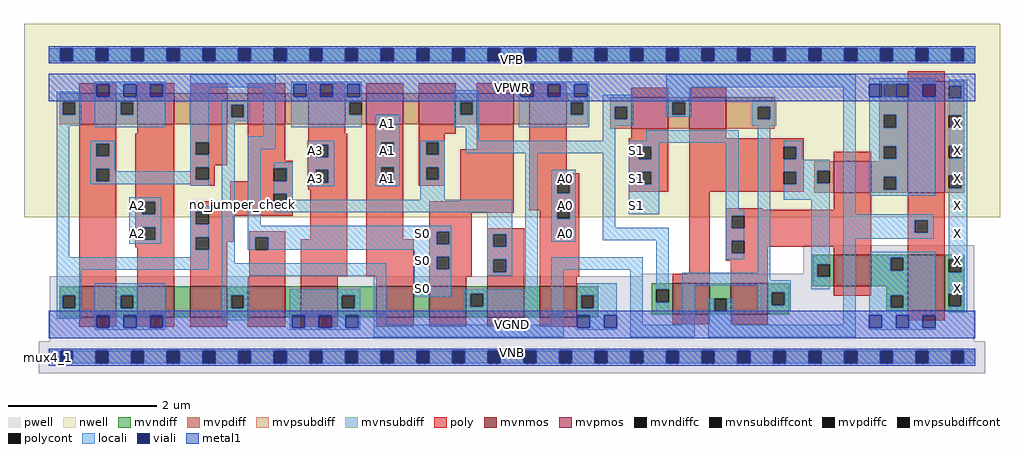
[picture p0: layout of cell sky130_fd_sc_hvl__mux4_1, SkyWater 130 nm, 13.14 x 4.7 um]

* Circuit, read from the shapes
.subckt sky130_fd_sc_hvl__mux4_1 A0 A1 A2 A3 S0 S1 VGND VNB VPB VPWR X
XM1 VGND S0 n1 VNB sky130_fd_pr__nfet_g5v0d10v5 w=0.42 l=0.5
XM2 n2 A2 VGND VNB sky130_fd_pr__nfet_g5v0d10v5 w=0.42 l=0.5
XM3 n3 n1 n2 VNB sky130_fd_pr__nfet_g5v0d10v5 w=0.42 l=0.5
XM4 n4 S0 n3 VNB sky130_fd_pr__nfet_g5v0d10v5 w=0.42 l=0.5
XM5 VGND A3 n4 VNB sky130_fd_pr__nfet_g5v0d10v5 w=0.42 l=0.5
XM6 n5 A1 VGND VNB sky130_fd_pr__nfet_g5v0d10v5 w=0.42 l=0.5
XM7 n6 S0 n5 VNB sky130_fd_pr__nfet_g5v0d10v5 w=0.42 l=0.5
XM8 n7 n1 n6 VNB sky130_fd_pr__nfet_g5v0d10v5 w=0.42 l=0.5
XM9 VGND A0 n7 VNB sky130_fd_pr__nfet_g5v0d10v5 w=0.42 l=0.5
XM10 n8 n9 n6 VNB sky130_fd_pr__nfet_g5v0d10v5 w=0.42 l=0.5
XM11 n3 S1 n8 VNB sky130_fd_pr__nfet_g5v0d10v5 w=0.42 l=0.5
XM12 VGND S1 n9 VNB sky130_fd_pr__nfet_g5v0d10v5 w=0.42 l=0.5
XM13 X n8 VGND VNB sky130_fd_pr__nfet_g5v0d10v5 w=0.75 l=0.5
XM14 VPWR S0 n1 VPB sky130_fd_pr__pfet_g5v0d10v5 w=0.42 l=0.5
XM15 n10 A2 VPWR VPB sky130_fd_pr__pfet_g5v0d10v5 w=0.42 l=0.5
XM16 n3 S0 n10 VPB sky130_fd_pr__pfet_g5v0d10v5 w=0.42 l=0.5
XM17 n11 n1 n3 VPB sky130_fd_pr__pfet_g5v0d10v5 w=0.42 l=0.5
XM18 VPWR A3 n11 VPB sky130_fd_pr__pfet_g5v0d10v5 w=0.42 l=0.5
XM19 n12 A1 VPWR VPB sky130_fd_pr__pfet_g5v0d10v5 w=0.42 l=0.5
XM20 n6 n1 n12 VPB sky130_fd_pr__pfet_g5v0d10v5 w=0.42 l=0.5
XM21 n13 S0 n6 VPB sky130_fd_pr__pfet_g5v0d10v5 w=0.42 l=0.5
XM22 VPWR A0 n13 VPB sky130_fd_pr__pfet_g5v0d10v5 w=0.42 l=0.5
XM23 n8 S1 n6 VPB sky130_fd_pr__pfet_g5v0d10v5 w=0.42 l=0.5
XM24 n3 n9 n8 VPB sky130_fd_pr__pfet_g5v0d10v5 w=0.42 l=0.5
XM25 VPWR S1 n9 VPB sky130_fd_pr__pfet_g5v0d10v5 w=0.42 l=0.5
XM26 X n8 VPWR VPB sky130_fd_pr__pfet_g5v0d10v5 w=1.5 l=0.5
.ends

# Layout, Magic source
magic
tech sky130B
magscale 1 2
<< nwell >>
rect -66 377 2562 897
<< pwell >>
rect 2032 225 2492 301
rect 1598 217 2492 225
rect 4 43 2492 217
rect -26 -43 2522 43
<< mvnmos >>
rect 83 107 183 191
rect 239 107 339 191
rect 381 107 481 191
rect 537 107 637 191
rect 679 107 779 191
rect 883 107 983 191
rect 1025 107 1125 191
rect 1181 107 1281 191
rect 1323 107 1423 191
rect 1681 115 1781 199
rect 1837 115 1937 199
rect 2115 191 2215 275
rect 2313 125 2413 275
<< mvpmos >>
rect 83 627 183 711
rect 239 627 339 711
rect 381 627 481 711
rect 537 627 637 711
rect 699 627 799 711
rect 855 627 955 711
rect 997 627 1097 711
rect 1153 627 1253 711
rect 1295 627 1395 711
rect 1569 615 1669 699
rect 1725 615 1825 699
rect 2115 443 2215 527
rect 2313 443 2413 743
<< mvndiff >>
rect 2058 250 2115 275
rect 2058 216 2070 250
rect 2104 216 2115 250
rect 30 166 83 191
rect 30 132 38 166
rect 72 132 83 166
rect 30 107 83 132
rect 183 166 239 191
rect 183 132 194 166
rect 228 132 239 166
rect 183 107 239 132
rect 339 107 381 191
rect 481 166 537 191
rect 481 132 492 166
rect 526 132 537 166
rect 481 107 537 132
rect 637 107 679 191
rect 779 166 883 191
rect 779 132 790 166
rect 824 132 883 166
rect 779 107 883 132
rect 983 107 1025 191
rect 1125 170 1181 191
rect 1125 136 1136 170
rect 1170 136 1181 170
rect 1125 107 1181 136
rect 1281 107 1323 191
rect 1423 166 1480 191
rect 1423 132 1434 166
rect 1468 132 1480 166
rect 1423 107 1480 132
rect 1624 182 1681 199
rect 1624 148 1636 182
rect 1670 148 1681 182
rect 1624 115 1681 148
rect 1781 157 1837 199
rect 1781 123 1792 157
rect 1826 123 1837 157
rect 1781 115 1837 123
rect 1937 174 1994 199
rect 2058 191 2115 216
rect 2215 267 2313 275
rect 2215 233 2268 267
rect 2302 233 2313 267
rect 2215 191 2313 233
rect 1937 140 1948 174
rect 1982 140 1994 174
rect 2256 167 2313 191
rect 1937 115 1994 140
rect 2256 133 2268 167
rect 2302 133 2313 167
rect 2256 125 2313 133
rect 2413 263 2466 275
rect 2413 229 2424 263
rect 2458 229 2466 263
rect 2413 171 2466 229
rect 2413 137 2424 171
rect 2458 137 2466 171
rect 2413 125 2466 137
<< mvpdiff >>
rect 2237 735 2313 743
rect 30 686 83 711
rect 30 652 38 686
rect 72 652 83 686
rect 30 627 83 652
rect 183 686 239 711
rect 183 652 194 686
rect 228 652 239 686
rect 183 627 239 652
rect 339 627 381 711
rect 481 680 537 711
rect 481 646 492 680
rect 526 646 537 680
rect 481 627 537 646
rect 637 627 699 711
rect 799 686 855 711
rect 799 652 810 686
rect 844 652 855 686
rect 799 627 855 652
rect 955 627 997 711
rect 1097 686 1153 711
rect 1097 652 1108 686
rect 1142 652 1153 686
rect 1097 627 1153 652
rect 1253 627 1295 711
rect 1395 686 1452 711
rect 2237 701 2249 735
rect 2283 701 2313 735
rect 1395 652 1406 686
rect 1440 652 1452 686
rect 1395 627 1452 652
rect 1512 674 1569 699
rect 1512 640 1524 674
rect 1558 640 1569 674
rect 1512 615 1569 640
rect 1669 686 1725 699
rect 1669 652 1680 686
rect 1714 652 1725 686
rect 1669 615 1725 652
rect 1825 674 1956 699
rect 1825 640 1910 674
rect 1944 640 1956 674
rect 1825 615 1956 640
rect 2237 652 2313 701
rect 2237 618 2249 652
rect 2283 618 2313 652
rect 2237 568 2313 618
rect 2237 534 2249 568
rect 2283 534 2313 568
rect 2237 527 2313 534
rect 2062 502 2115 527
rect 2062 468 2070 502
rect 2104 468 2115 502
rect 2062 443 2115 468
rect 2215 485 2313 527
rect 2215 451 2249 485
rect 2283 451 2313 485
rect 2215 443 2313 451
rect 2413 731 2466 743
rect 2413 697 2424 731
rect 2458 697 2466 731
rect 2413 651 2466 697
rect 2413 617 2424 651
rect 2458 617 2466 651
rect 2413 569 2466 617
rect 2413 535 2424 569
rect 2458 535 2466 569
rect 2413 489 2466 535
rect 2413 455 2424 489
rect 2458 455 2466 489
rect 2413 443 2466 455
<< mvndiffc >>
rect 2070 216 2104 250
rect 38 132 72 166
rect 194 132 228 166
rect 492 132 526 166
rect 790 132 824 166
rect 1136 136 1170 170
rect 1434 132 1468 166
rect 1636 148 1670 182
rect 1792 123 1826 157
rect 2268 233 2302 267
rect 1948 140 1982 174
rect 2268 133 2302 167
rect 2424 229 2458 263
rect 2424 137 2458 171
<< mvpdiffc >>
rect 38 652 72 686
rect 194 652 228 686
rect 492 646 526 680
rect 810 652 844 686
rect 1108 652 1142 686
rect 2249 701 2283 735
rect 1406 652 1440 686
rect 1524 640 1558 674
rect 1680 652 1714 686
rect 1910 640 1944 674
rect 2249 618 2283 652
rect 2249 534 2283 568
rect 2070 468 2104 502
rect 2249 451 2283 485
rect 2424 697 2458 731
rect 2424 617 2458 651
rect 2424 535 2458 569
rect 2424 455 2458 489
<< mvpsubdiff >>
rect 0 -17 31 17
rect 65 -17 127 17
rect 161 -17 223 17
rect 257 -17 319 17
rect 353 -17 415 17
rect 449 -17 511 17
rect 545 -17 607 17
rect 641 -17 703 17
rect 737 -17 799 17
rect 833 -17 895 17
rect 929 -17 991 17
rect 1025 -17 1087 17
rect 1121 -17 1183 17
rect 1217 -17 1279 17
rect 1313 -17 1375 17
rect 1409 -17 1471 17
rect 1505 -17 1567 17
rect 1601 -17 1663 17
rect 1697 -17 1759 17
rect 1793 -17 1855 17
rect 1889 -17 1951 17
rect 1985 -17 2047 17
rect 2081 -17 2143 17
rect 2177 -17 2239 17
rect 2273 -17 2335 17
rect 2369 -17 2431 17
rect 2465 -17 2496 17
<< mvnsubdiff >>
rect 0 797 31 831
rect 65 797 127 831
rect 161 797 223 831
rect 257 797 319 831
rect 353 797 415 831
rect 449 797 511 831
rect 545 797 607 831
rect 641 797 703 831
rect 737 797 799 831
rect 833 797 895 831
rect 929 797 991 831
rect 1025 797 1087 831
rect 1121 797 1183 831
rect 1217 797 1279 831
rect 1313 797 1375 831
rect 1409 797 1471 831
rect 1505 797 1567 831
rect 1601 797 1663 831
rect 1697 797 1759 831
rect 1793 797 1855 831
rect 1889 797 1951 831
rect 1985 797 2047 831
rect 2081 797 2143 831
rect 2177 797 2239 831
rect 2273 797 2335 831
rect 2369 797 2431 831
rect 2465 797 2496 831
<< mvpsubdiffcont >>
rect 31 -17 65 17
rect 127 -17 161 17
rect 223 -17 257 17
rect 319 -17 353 17
rect 415 -17 449 17
rect 511 -17 545 17
rect 607 -17 641 17
rect 703 -17 737 17
rect 799 -17 833 17
rect 895 -17 929 17
rect 991 -17 1025 17
rect 1087 -17 1121 17
rect 1183 -17 1217 17
rect 1279 -17 1313 17
rect 1375 -17 1409 17
rect 1471 -17 1505 17
rect 1567 -17 1601 17
rect 1663 -17 1697 17
rect 1759 -17 1793 17
rect 1855 -17 1889 17
rect 1951 -17 1985 17
rect 2047 -17 2081 17
rect 2143 -17 2177 17
rect 2239 -17 2273 17
rect 2335 -17 2369 17
rect 2431 -17 2465 17
<< mvnsubdiffcont >>
rect 31 797 65 831
rect 127 797 161 831
rect 223 797 257 831
rect 319 797 353 831
rect 415 797 449 831
rect 511 797 545 831
rect 607 797 641 831
rect 703 797 737 831
rect 799 797 833 831
rect 895 797 929 831
rect 991 797 1025 831
rect 1087 797 1121 831
rect 1183 797 1217 831
rect 1279 797 1313 831
rect 1375 797 1409 831
rect 1471 797 1505 831
rect 1567 797 1601 831
rect 1663 797 1697 831
rect 1759 797 1793 831
rect 1855 797 1889 831
rect 1951 797 1985 831
rect 2047 797 2081 831
rect 2143 797 2177 831
rect 2239 797 2273 831
rect 2335 797 2369 831
rect 2431 797 2465 831
<< poly >>
rect 2313 743 2413 769
rect 83 711 183 737
rect 239 711 339 737
rect 381 711 481 737
rect 537 711 637 737
rect 699 711 799 737
rect 855 711 955 737
rect 997 711 1097 737
rect 1153 711 1253 737
rect 1295 711 1395 737
rect 1569 699 1669 725
rect 1725 699 1825 725
rect 83 575 183 627
rect 239 601 339 627
rect 83 541 129 575
rect 163 541 183 575
rect 83 507 183 541
rect 83 473 129 507
rect 163 473 183 507
rect 83 191 183 473
rect 233 418 339 601
rect 381 579 481 627
rect 381 545 397 579
rect 431 545 481 579
rect 381 516 481 545
rect 537 528 637 627
rect 699 601 799 627
rect 699 572 805 601
rect 699 538 719 572
rect 753 538 805 572
rect 381 511 447 516
rect 381 477 397 511
rect 431 477 447 511
rect 381 461 447 477
rect 537 508 657 528
rect 537 474 607 508
rect 641 474 657 508
rect 489 440 657 474
rect 699 504 805 538
rect 699 470 719 504
rect 753 470 805 504
rect 699 450 805 470
rect 489 419 607 440
rect 233 384 253 418
rect 287 384 339 418
rect 233 350 339 384
rect 233 316 253 350
rect 287 316 339 350
rect 233 296 339 316
rect 239 191 339 296
rect 381 406 607 419
rect 641 406 657 440
rect 381 391 657 406
rect 381 357 397 391
rect 431 381 657 391
rect 431 357 499 381
rect 381 323 499 357
rect 381 289 397 323
rect 431 311 499 323
rect 541 323 637 339
rect 431 289 481 311
rect 381 191 481 289
rect 541 289 557 323
rect 591 289 637 323
rect 705 317 805 450
rect 541 217 637 289
rect 537 191 637 217
rect 679 217 805 317
rect 855 579 955 627
rect 855 545 896 579
rect 930 545 955 579
rect 855 511 955 545
rect 855 477 896 511
rect 930 477 955 511
rect 855 317 955 477
rect 997 601 1097 627
rect 997 579 1067 601
rect 997 545 1017 579
rect 1051 545 1067 579
rect 1153 559 1253 627
rect 997 511 1067 545
rect 997 477 1017 511
rect 1051 477 1067 511
rect 997 461 1067 477
rect 1109 419 1253 559
rect 1025 389 1253 419
rect 1295 495 1395 627
rect 1569 589 1669 615
rect 1563 567 1669 589
rect 1563 533 1589 567
rect 1623 533 1669 567
rect 1563 499 1669 533
rect 1295 475 1429 495
rect 1295 441 1370 475
rect 1404 441 1429 475
rect 1563 465 1589 499
rect 1623 465 1669 499
rect 1563 445 1669 465
rect 1725 589 1825 615
rect 1725 567 2034 589
rect 1725 533 1980 567
rect 2014 533 2034 567
rect 1725 499 2034 533
rect 2115 527 2215 553
rect 1725 465 1980 499
rect 2014 465 2034 499
rect 1725 445 2034 465
rect 1295 407 1429 441
rect 1295 395 1370 407
rect 1025 338 1139 389
rect 1323 373 1370 395
rect 1404 373 1429 407
rect 855 217 983 317
rect 679 191 779 217
rect 883 191 983 217
rect 1025 304 1045 338
rect 1079 304 1139 338
rect 1025 270 1139 304
rect 1025 236 1045 270
rect 1079 236 1139 270
rect 1025 216 1139 236
rect 1181 331 1281 347
rect 1181 297 1198 331
rect 1232 297 1281 331
rect 1181 263 1281 297
rect 1181 229 1198 263
rect 1232 229 1281 263
rect 1025 191 1125 216
rect 1181 191 1281 229
rect 1323 217 1429 373
rect 1725 225 1781 445
rect 1823 397 1923 401
rect 2115 397 2215 443
rect 1823 381 2215 397
rect 1823 347 1840 381
rect 1874 347 2215 381
rect 1823 313 2215 347
rect 1823 279 1840 313
rect 1874 297 2215 313
rect 1874 279 1937 297
rect 1823 259 1937 279
rect 2115 275 2215 297
rect 2313 369 2413 443
rect 2313 335 2333 369
rect 2367 335 2413 369
rect 2313 275 2413 335
rect 1323 191 1423 217
rect 1681 199 1781 225
rect 1837 199 1937 259
rect 2115 165 2215 191
rect 83 81 183 107
rect 239 81 339 107
rect 381 81 481 107
rect 537 81 637 107
rect 679 81 779 107
rect 883 81 983 107
rect 1025 81 1125 107
rect 1181 81 1281 107
rect 1323 81 1423 107
rect 1681 89 1781 115
rect 1837 89 1937 115
rect 2313 99 2413 125
<< polycont >>
rect 129 541 163 575
rect 129 473 163 507
rect 397 545 431 579
rect 719 538 753 572
rect 397 477 431 511
rect 607 474 641 508
rect 719 470 753 504
rect 253 384 287 418
rect 253 316 287 350
rect 607 406 641 440
rect 397 357 431 391
rect 397 289 431 323
rect 557 289 591 323
rect 896 545 930 579
rect 896 477 930 511
rect 1017 545 1051 579
rect 1017 477 1051 511
rect 1589 533 1623 567
rect 1370 441 1404 475
rect 1589 465 1623 499
rect 1980 533 2014 567
rect 1980 465 2014 499
rect 1370 373 1404 407
rect 1045 304 1079 338
rect 1045 236 1079 270
rect 1198 297 1232 331
rect 1198 229 1232 263
rect 1840 347 1874 381
rect 1840 279 1874 313
rect 2333 335 2367 369
<< locali >>
rect 0 797 31 831
rect 65 797 127 831
rect 161 797 223 831
rect 257 797 319 831
rect 353 797 415 831
rect 449 797 511 831
rect 545 797 607 831
rect 641 797 703 831
rect 737 797 799 831
rect 833 797 895 831
rect 929 797 991 831
rect 1025 797 1087 831
rect 1121 797 1183 831
rect 1217 797 1279 831
rect 1313 797 1375 831
rect 1409 797 1471 831
rect 1505 797 1567 831
rect 1601 797 1663 831
rect 1697 797 1759 831
rect 1793 797 1855 831
rect 1889 797 1951 831
rect 1985 797 2047 831
rect 2081 797 2143 831
rect 2177 797 2239 831
rect 2273 797 2335 831
rect 2369 797 2431 831
rect 2465 797 2496 831
rect 124 735 314 741
rect 22 686 88 715
rect 22 652 38 686
rect 72 652 88 686
rect 22 623 88 652
rect 124 701 130 735
rect 164 701 202 735
rect 236 701 274 735
rect 308 701 314 735
rect 124 686 314 701
rect 124 652 194 686
rect 228 652 314 686
rect 22 269 56 623
rect 124 619 314 652
rect 381 727 612 761
rect 113 575 179 583
rect 113 541 129 575
rect 163 541 179 575
rect 113 507 179 541
rect 113 473 129 507
rect 163 500 179 507
rect 381 579 431 727
rect 381 545 397 579
rect 381 511 431 545
rect 381 500 397 511
rect 163 477 397 500
rect 163 473 431 477
rect 113 466 431 473
rect 381 461 431 466
rect 467 680 542 691
rect 467 646 492 680
rect 526 646 542 680
rect 467 635 542 646
rect 217 418 303 430
rect 217 384 253 418
rect 287 384 303 418
rect 217 350 303 384
rect 217 316 253 350
rect 287 316 303 350
rect 217 305 303 316
rect 381 391 431 407
rect 381 357 397 391
rect 381 323 431 357
rect 381 289 397 323
rect 381 269 431 289
rect 22 235 431 269
rect 467 253 501 635
rect 578 594 612 727
rect 654 735 844 741
rect 654 701 660 735
rect 694 701 732 735
rect 766 701 804 735
rect 838 701 844 735
rect 1266 735 1456 741
rect 654 686 844 701
rect 654 652 810 686
rect 1092 686 1158 719
rect 1092 652 1108 686
rect 1142 652 1158 686
rect 654 619 844 652
rect 537 560 612 594
rect 697 572 769 583
rect 537 354 571 560
rect 697 538 719 572
rect 753 538 769 572
rect 607 508 657 524
rect 641 474 657 508
rect 607 440 657 474
rect 697 504 769 538
rect 697 470 719 504
rect 753 470 769 504
rect 697 460 769 470
rect 880 579 946 652
rect 1092 619 1158 652
rect 1266 701 1272 735
rect 1306 701 1344 735
rect 1378 701 1416 735
rect 1450 701 1456 735
rect 1664 727 2174 761
rect 1266 686 1456 701
rect 1266 652 1406 686
rect 1440 652 1456 686
rect 1266 619 1456 652
rect 1492 674 1574 707
rect 1492 640 1524 674
rect 1558 640 1574 674
rect 1664 686 1730 727
rect 1664 652 1680 686
rect 1714 652 1730 686
rect 1664 647 1730 652
rect 1894 674 1960 691
rect 1492 623 1574 640
rect 1894 640 1910 674
rect 1944 640 1960 674
rect 1894 623 1960 640
rect 1124 583 1158 619
rect 1492 583 1526 623
rect 1610 583 1858 611
rect 880 545 896 579
rect 930 545 946 579
rect 880 511 946 545
rect 880 477 896 511
rect 930 477 946 511
rect 880 460 946 477
rect 1001 579 1067 583
rect 1001 545 1017 579
rect 1051 545 1067 579
rect 1124 549 1526 583
rect 1001 511 1067 545
rect 1001 477 1017 511
rect 1051 477 1067 511
rect 641 424 657 440
rect 1001 424 1067 477
rect 641 406 1248 424
rect 607 390 1248 406
rect 537 338 1084 354
rect 537 323 1045 338
rect 537 289 557 323
rect 591 304 1045 323
rect 1079 304 1084 338
rect 591 289 1084 304
rect 985 270 1084 289
rect 22 166 88 235
rect 467 219 910 253
rect 22 132 38 166
rect 72 132 88 166
rect 22 103 88 132
rect 124 166 314 199
rect 124 132 194 166
rect 228 132 314 166
rect 124 113 314 132
rect 124 79 130 113
rect 164 79 202 113
rect 236 79 274 113
rect 308 79 314 113
rect 467 166 542 219
rect 467 132 492 166
rect 526 132 542 166
rect 467 99 542 132
rect 650 166 840 183
rect 650 132 790 166
rect 824 132 840 166
rect 650 113 840 132
rect 124 73 314 79
rect 650 79 656 113
rect 690 79 728 113
rect 762 79 800 113
rect 834 79 840 113
rect 650 73 840 79
rect 876 87 910 219
rect 985 236 1045 270
rect 1079 236 1084 270
rect 985 162 1084 236
rect 1182 331 1248 390
rect 1182 297 1198 331
rect 1232 297 1248 331
rect 1182 263 1248 297
rect 1182 229 1198 263
rect 1232 229 1248 263
rect 1182 219 1248 229
rect 1284 183 1318 549
rect 1354 475 1420 504
rect 1354 441 1370 475
rect 1404 441 1420 475
rect 1354 407 1420 441
rect 1354 373 1370 407
rect 1404 373 1420 407
rect 1354 310 1420 373
rect 1492 348 1526 549
rect 1562 577 1858 583
rect 1562 567 1644 577
rect 1562 533 1589 567
rect 1623 533 1644 567
rect 1562 499 1644 533
rect 1562 465 1589 499
rect 1623 465 1644 499
rect 1562 384 1644 465
rect 1824 397 1858 577
rect 1824 381 1874 397
rect 1492 314 1670 348
rect 1120 170 1318 183
rect 1120 136 1136 170
rect 1170 136 1318 170
rect 1120 123 1318 136
rect 1354 235 1600 269
rect 1354 87 1388 235
rect 876 53 1388 87
rect 1424 166 1530 199
rect 1424 132 1434 166
rect 1468 132 1530 166
rect 1424 113 1530 132
rect 1458 79 1496 113
rect 1424 73 1530 79
rect 1566 87 1600 235
rect 1636 182 1670 314
rect 1824 347 1840 381
rect 1824 313 1874 347
rect 1824 279 1840 313
rect 1824 263 1874 279
rect 1910 227 1944 623
rect 1980 567 2030 583
rect 2014 533 2030 567
rect 1980 531 2030 533
rect 1980 502 2104 531
rect 1980 499 2070 502
rect 2014 468 2070 499
rect 2014 465 2104 468
rect 1980 423 2104 465
rect 1636 123 1670 148
rect 1706 207 1944 227
rect 2054 250 2104 423
rect 2054 216 2070 250
rect 1706 193 1998 207
rect 1706 87 1740 193
rect 1910 174 1998 193
rect 2054 183 2104 216
rect 2140 385 2174 727
rect 2210 735 2388 751
rect 2244 701 2249 735
rect 2316 701 2354 735
rect 2210 652 2388 701
rect 2210 618 2249 652
rect 2283 618 2388 652
rect 2210 568 2388 618
rect 2210 534 2249 568
rect 2283 534 2388 568
rect 2210 485 2388 534
rect 2210 451 2249 485
rect 2283 451 2388 485
rect 2210 435 2388 451
rect 2424 731 2474 747
rect 2458 697 2474 731
rect 2424 651 2474 697
rect 2458 617 2474 651
rect 2424 569 2474 617
rect 2458 535 2474 569
rect 2424 489 2474 535
rect 2458 455 2474 489
rect 2140 369 2383 385
rect 2140 335 2333 369
rect 2367 335 2383 369
rect 2140 319 2383 335
rect 1566 53 1740 87
rect 1776 123 1792 157
rect 1826 123 1842 157
rect 1910 140 1948 174
rect 1982 140 1998 174
rect 1910 123 1998 140
rect 1776 87 1842 123
rect 2140 87 2174 319
rect 1776 53 2174 87
rect 2210 267 2388 283
rect 2210 233 2268 267
rect 2302 233 2388 267
rect 2210 167 2388 233
rect 2210 133 2268 167
rect 2302 133 2388 167
rect 2210 113 2388 133
rect 2424 263 2474 455
rect 2458 229 2474 263
rect 2424 171 2474 229
rect 2458 137 2474 171
rect 2424 121 2474 137
rect 2244 79 2282 113
rect 2316 79 2354 113
rect 2210 73 2388 79
rect 0 -17 31 17
rect 65 -17 127 17
rect 161 -17 223 17
rect 257 -17 319 17
rect 353 -17 415 17
rect 449 -17 511 17
rect 545 -17 607 17
rect 641 -17 703 17
rect 737 -17 799 17
rect 833 -17 895 17
rect 929 -17 991 17
rect 1025 -17 1087 17
rect 1121 -17 1183 17
rect 1217 -17 1279 17
rect 1313 -17 1375 17
rect 1409 -17 1471 17
rect 1505 -17 1567 17
rect 1601 -17 1663 17
rect 1697 -17 1759 17
rect 1793 -17 1855 17
rect 1889 -17 1951 17
rect 1985 -17 2047 17
rect 2081 -17 2143 17
rect 2177 -17 2239 17
rect 2273 -17 2335 17
rect 2369 -17 2431 17
rect 2465 -17 2496 17
<< viali >>
rect 31 797 65 831
rect 127 797 161 831
rect 223 797 257 831
rect 319 797 353 831
rect 415 797 449 831
rect 511 797 545 831
rect 607 797 641 831
rect 703 797 737 831
rect 799 797 833 831
rect 895 797 929 831
rect 991 797 1025 831
rect 1087 797 1121 831
rect 1183 797 1217 831
rect 1279 797 1313 831
rect 1375 797 1409 831
rect 1471 797 1505 831
rect 1567 797 1601 831
rect 1663 797 1697 831
rect 1759 797 1793 831
rect 1855 797 1889 831
rect 1951 797 1985 831
rect 2047 797 2081 831
rect 2143 797 2177 831
rect 2239 797 2273 831
rect 2335 797 2369 831
rect 2431 797 2465 831
rect 130 701 164 735
rect 202 701 236 735
rect 274 701 308 735
rect 660 701 694 735
rect 732 701 766 735
rect 804 701 838 735
rect 1272 701 1306 735
rect 1344 701 1378 735
rect 1416 701 1450 735
rect 130 79 164 113
rect 202 79 236 113
rect 274 79 308 113
rect 656 79 690 113
rect 728 79 762 113
rect 800 79 834 113
rect 1424 79 1458 113
rect 1496 79 1530 113
rect 2210 701 2244 735
rect 2282 701 2283 735
rect 2283 701 2316 735
rect 2354 701 2388 735
rect 2210 79 2244 113
rect 2282 79 2316 113
rect 2354 79 2388 113
rect 31 -17 65 17
rect 127 -17 161 17
rect 223 -17 257 17
rect 319 -17 353 17
rect 415 -17 449 17
rect 511 -17 545 17
rect 607 -17 641 17
rect 703 -17 737 17
rect 799 -17 833 17
rect 895 -17 929 17
rect 991 -17 1025 17
rect 1087 -17 1121 17
rect 1183 -17 1217 17
rect 1279 -17 1313 17
rect 1375 -17 1409 17
rect 1471 -17 1505 17
rect 1567 -17 1601 17
rect 1663 -17 1697 17
rect 1759 -17 1793 17
rect 1855 -17 1889 17
rect 1951 -17 1985 17
rect 2047 -17 2081 17
rect 2143 -17 2177 17
rect 2239 -17 2273 17
rect 2335 -17 2369 17
rect 2431 -17 2465 17
<< metal1 >>
rect 0 831 2496 837
rect 0 797 31 831
rect 65 797 127 831
rect 161 797 223 831
rect 257 797 319 831
rect 353 797 415 831
rect 449 797 511 831
rect 545 797 607 831
rect 641 797 703 831
rect 737 797 799 831
rect 833 797 895 831
rect 929 797 991 831
rect 1025 797 1087 831
rect 1121 797 1183 831
rect 1217 797 1279 831
rect 1313 797 1375 831
rect 1409 797 1471 831
rect 1505 797 1567 831
rect 1601 797 1663 831
rect 1697 797 1759 831
rect 1793 797 1855 831
rect 1889 797 1951 831
rect 1985 797 2047 831
rect 2081 797 2143 831
rect 2177 797 2239 831
rect 2273 797 2335 831
rect 2369 797 2431 831
rect 2465 797 2496 831
rect 0 791 2496 797
rect 0 735 2496 763
rect 0 701 130 735
rect 164 701 202 735
rect 236 701 274 735
rect 308 701 660 735
rect 694 701 732 735
rect 766 701 804 735
rect 838 701 1272 735
rect 1306 701 1344 735
rect 1378 701 1416 735
rect 1450 701 2210 735
rect 2244 701 2282 735
rect 2316 701 2354 735
rect 2388 701 2496 735
rect 0 689 2496 701
rect 0 113 2496 125
rect 0 79 130 113
rect 164 79 202 113
rect 236 79 274 113
rect 308 79 656 113
rect 690 79 728 113
rect 762 79 800 113
rect 834 79 1424 113
rect 1458 79 1496 113
rect 1530 79 2210 113
rect 2244 79 2282 113
rect 2316 79 2354 113
rect 2388 79 2496 113
rect 0 51 2496 79
rect 0 17 2496 23
rect 0 -17 31 17
rect 65 -17 127 17
rect 161 -17 223 17
rect 257 -17 319 17
rect 353 -17 415 17
rect 449 -17 511 17
rect 545 -17 607 17
rect 641 -17 703 17
rect 737 -17 799 17
rect 833 -17 895 17
rect 929 -17 991 17
rect 1025 -17 1087 17
rect 1121 -17 1183 17
rect 1217 -17 1279 17
rect 1313 -17 1375 17
rect 1409 -17 1471 17
rect 1505 -17 1567 17
rect 1601 -17 1663 17
rect 1697 -17 1759 17
rect 1793 -17 1855 17
rect 1889 -17 1951 17
rect 1985 -17 2047 17
rect 2081 -17 2143 17
rect 2177 -17 2239 17
rect 2273 -17 2335 17
rect 2369 -17 2431 17
rect 2465 -17 2496 17
rect 0 -23 2496 -17
<< labels >>
flabel comment s 523 410 523 410 0 FreeSans 200 0 0 0 no_jumper_check
rlabel comment s 0 0 0 0 4 mux4_1
flabel metal1 s 0 51 2496 125 0 FreeSans 340 0 0 0 VGND
port 7 nsew ground bidirectional
flabel metal1 s 0 0 2496 23 0 FreeSans 340 0 0 0 VNB
port 8 nsew ground bidirectional
flabel metal1 s 0 689 2496 763 0 FreeSans 340 0 0 0 VPWR
port 10 nsew power bidirectional
flabel metal1 s 0 791 2496 814 0 FreeSans 340 0 0 0 VPB
port 9 nsew power bidirectional
flabel locali s 1375 316 1409 350 0 FreeSans 340 0 0 0 A0
port 1 nsew signal input
flabel locali s 1375 390 1409 424 0 FreeSans 340 0 0 0 A0
port 1 nsew signal input
flabel locali s 1375 464 1409 498 0 FreeSans 340 0 0 0 A0
port 1 nsew signal input
flabel locali s 991 168 1025 202 0 FreeSans 340 0 0 0 S0
port 5 nsew signal input
flabel locali s 991 242 1025 276 0 FreeSans 340 0 0 0 S0
port 5 nsew signal input
flabel locali s 991 316 1025 350 0 FreeSans 340 0 0 0 S0
port 5 nsew signal input
flabel locali s 895 464 929 498 0 FreeSans 340 0 0 0 A1
port 2 nsew signal input
flabel locali s 895 538 929 572 0 FreeSans 340 0 0 0 A1
port 2 nsew signal input
flabel locali s 895 612 929 646 0 FreeSans 340 0 0 0 A1
port 2 nsew signal input
flabel locali s 223 316 257 350 0 FreeSans 340 0 0 0 A2
port 3 nsew signal input
flabel locali s 223 390 257 424 0 FreeSans 340 0 0 0 A2
port 3 nsew signal input
flabel locali s 703 464 737 498 0 FreeSans 340 0 0 0 A3
port 4 nsew signal input
flabel locali s 703 538 737 572 0 FreeSans 340 0 0 0 A3
port 4 nsew signal input
flabel locali s 2431 168 2465 202 0 FreeSans 340 0 0 0 X
port 11 nsew signal output
flabel locali s 2431 242 2465 276 0 FreeSans 340 0 0 0 X
port 11 nsew signal output
flabel locali s 2431 316 2465 350 0 FreeSans 340 0 0 0 X
port 11 nsew signal output
flabel locali s 2431 390 2465 424 0 FreeSans 340 0 0 0 X
port 11 nsew signal output
flabel locali s 2431 464 2465 498 0 FreeSans 340 0 0 0 X
port 11 nsew signal output
flabel locali s 2431 538 2465 572 0 FreeSans 340 0 0 0 X
port 11 nsew signal output
flabel locali s 2431 612 2465 646 0 FreeSans 340 0 0 0 X
port 11 nsew signal output
flabel locali s 1567 390 1601 424 0 FreeSans 340 0 0 0 S1
port 6 nsew signal input
flabel locali s 1567 464 1601 498 0 FreeSans 340 0 0 0 S1
port 6 nsew signal input
flabel locali s 1567 538 1601 572 0 FreeSans 340 0 0 0 S1
port 6 nsew signal input
<< properties >>
string FIXED_BBOX 0 0 2496 814
string GDS_END 236664
string GDS_FILE $PDKPATH/libs.ref/sky130_fd_sc_hvl/gds/sky130_fd_sc_hvl.gds
string GDS_START 211614
string LEFclass CORE
string LEFsite unithv
string LEFsymmetry X Y
<< end >>
